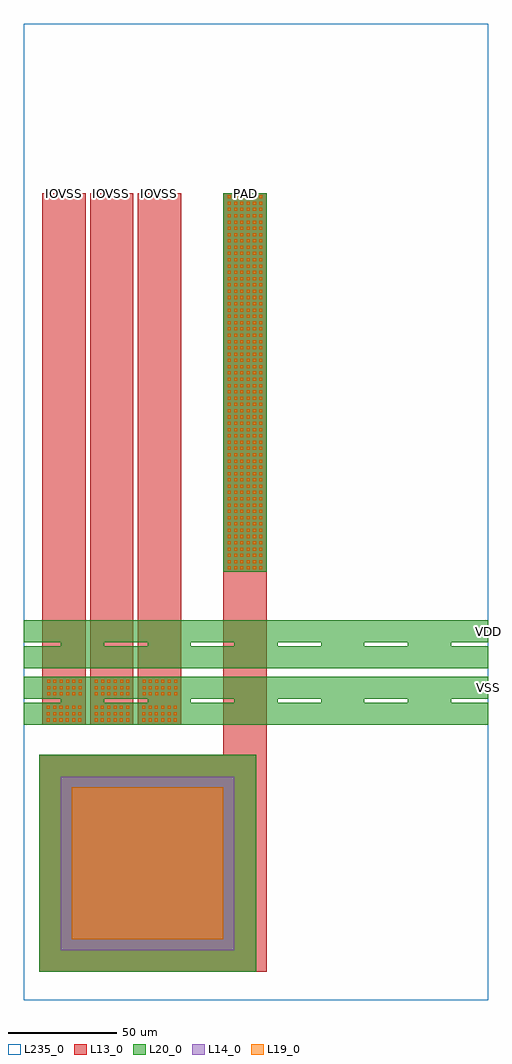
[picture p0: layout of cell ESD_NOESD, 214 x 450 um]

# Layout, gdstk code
import gdstk
lib = gdstk.Library(unit=1e-6, precision=1e-09)
def R(c, l, rs):  # rectangles x0, y0, x1, y1
    for r in rs: c.add(gdstk.rectangle(r[:2], r[2:], *l))
def A(c, l, x, y, w, h, nx, ny, dx, dy):  # array of equal rectangles
    R(c, l, [(x+i*dx, y+j*dy, x+i*dx+w, y+j*dy+h) for i in range(nx) for j in range(ny)])
def P(c, l, *ps):  # polygons
    for p in ps: c.add(gdstk.Polygon(p, *l))
L13_0 = (13, 0)
L14_0 = (14, 0)
L19_0 = (19, 0)
L20_0 = (20, 0)
L235_0 = (235, 0)

via_m21_cdns_73420149479 = lib.new_cell('VIA_M21_CDNS_734201494793')
R(via_m21_cdns_73420149479, L13_0, [(-8.8,-87.2,9.1,87.3)])
A(via_m21_cdns_73420149479, L19_0, -7.8, -86.2, 1.4, 1.4, 6, 60, 2.9, 2.9)
R(via_m21_cdns_73420149479, L20_0, [(-8.8,-87.2,9.1,87.3)])

esd_noesd = lib.new_cell('ESD_NOESD')
A(esd_noesd, L13_0, -48.5, 64, 20, 245, 3, 1, 22, 0)
R(esd_noesd, L13_0, [(-50,-50,50,50), (50,-50,55,50), (35,50,55,309)])
R(esd_noesd, L14_0, [(-40,-40,40,40)])
A(esd_noesd, L19_0, -46.4, 65.4, 1.4, 1.4, 6, 3, 2.9, 2.9)
A(esd_noesd, L19_0, -24.4, 65.4, 1.4, 1.4, 6, 3, 2.9, 2.9)
A(esd_noesd, L19_0, -2.4, 65.4, 1.4, 1.4, 6, 3, 2.9, 2.9)
A(esd_noesd, L19_0, -46.3, 77.4, 1.4, 1.4, 6, 3, 2.9, 2.9)
A(esd_noesd, L19_0, -24.3, 77.4, 1.4, 1.4, 6, 3, 2.9, 2.9)
A(esd_noesd, L19_0, -2.3, 77.4, 1.4, 1.4, 6, 3, 2.9, 2.9)
R(esd_noesd, L19_0, [(-35,-35,35,35)])
R(esd_noesd, L20_0, [(-50,-50,50,50), (154,79.5,157,82.5), (154,105.5,157,108.5), (35,134.5,55,309)])
P(esd_noesd, L20_0, [(-57,90),(-57,100),(-40,100),(-40,102),(-57,102),(-57,112),(0,112),(0,102),(-20,102),(-20,100),(0,100),(0,112),(40,112),(40,102),(20,102),(20,100),(40,100),(40,112),(80,112),(80,102),(60,102),(60,100),(80,100),(80,112),(120,112),(120,102),(100,102),(100,100),(120,100),(120,112),(157,112),(157,102),(140,102),(140,100),(157,100),(157,90)],
  [(-57,64),(-57,74),(-40,74),(-40,76),(-57,76),(-57,86),(0,86),(0,76),(-20,76),(-20,74),(0,74),(0,86),(40,86),(40,76),(20,76),(20,74),(40,74),(40,86),(80,86),(80,76),(60,76),(60,74),(80,74),(80,86),(120,86),(120,76),(100,76),(100,74),(120,74),(120,86),(157,86),(157,76),(140,76),(140,74),(157,74),(157,64)])
R(esd_noesd, L235_0, [(-57,-63,157,387)])
esd_noesd.add(gdstk.Reference(via_m21_cdns_73420149479, (44.8,221.7)))
esd_noesd.add(gdstk.Label('IOVSS', (-38.5,309), layer=235, texttype=0))
esd_noesd.add(gdstk.Label('VDD', (157,107), layer=235, texttype=0))
esd_noesd.add(gdstk.Label('IOVSS', (-16.5,309), layer=235, texttype=0))
esd_noesd.add(gdstk.Label('IOVSS', (5.5,309), layer=235, texttype=0))
esd_noesd.add(gdstk.Label('VSS', (157,81), layer=235, texttype=0))
esd_noesd.add(gdstk.Label('VDD', (157,107), layer=235, texttype=0))
esd_noesd.add(gdstk.Label('PAD', (45,309), layer=235, texttype=0))

lib.write_gds('ESD_NOESD.gds')
